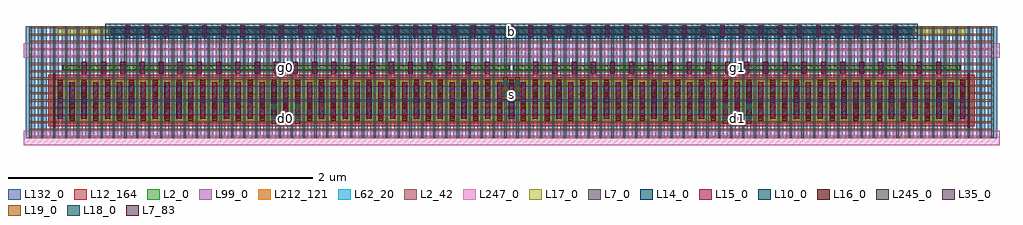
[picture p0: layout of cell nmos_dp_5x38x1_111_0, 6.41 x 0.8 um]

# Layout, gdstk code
import gdstk
lib = gdstk.Library(unit=1e-6, precision=1e-12)
def R(c, l, rs):  # rectangles x0, y0, x1, y1
    for r in rs: c.add(gdstk.rectangle(r[:2], r[2:], *l))
def A(c, l, x, y, w, h, nx, ny, dx, dy):  # array of equal rectangles
    R(c, l, [(x+i*dx, y+j*dy, x+i*dx+w, y+j*dy+h) for i in range(nx) for j in range(ny)])
L2_0 = (2, 0)
L2_42 = (2, 42)
L7_0 = (7, 0)
L7_83 = (7, 83)
L10_0 = (10, 0)
L12_164 = (12, 164)
L14_0 = (14, 0)
L15_0 = (15, 0)
L16_0 = (16, 0)
L17_0 = (17, 0)
L18_0 = (18, 0)
L19_0 = (19, 0)
L35_0 = (35, 0)
L62_20 = (62, 20)
L99_0 = (99, 0)
L132_0 = (132, 0)
L212_121 = (212, 121)
L245_0 = (245, 0)
L247_0 = (247, 0)

nmos_dp_5x38x1_111_0 = lib.new_cell('nmos_dp_5x38x1_111_0')
R(nmos_dp_5x38x1_111_0, L2_0, [(0.186,0.127,6.192,0.367), (0.5414,0.671,5.8366,0.731)])
A(nmos_dp_5x38x1_111_0, L2_42, 0.023, 0, 6.318, 0.014, 1, 16, 0, 0.048)
A(nmos_dp_5x38x1_111_0, L7_0, 0.023, 0, 0.014, 0.734, 82, 1, 0.078, 0)
R(nmos_dp_5x38x1_111_0, L7_83, [(0.179,0.067,0.193,0.427), (6.185,0.067,6.199,0.427)])
R(nmos_dp_5x38x1_111_0, L10_0, [(0.5214,0.651,5.8566,0.751)])
R(nmos_dp_5x38x1_111_0, L12_164, [(0.147,0.079,6.231,0.415)])
A(nmos_dp_5x38x1_111_0, L14_0, 0.208, 0.127, 0.034, 0.24, 77, 1, 0.078, 0)
R(nmos_dp_5x38x1_111_0, L14_0, [(0.5564,0.681,5.8216,0.721)])
A(nmos_dp_5x38x1_111_0, L15_0, 0.209, 0.127, 0.032, 0.24, 77, 1, 0.078, 0)
A(nmos_dp_5x38x1_111_0, L15_0, 0.368, 0.422, 0.032, 0.08, 22, 1, 0.126, 0)
A(nmos_dp_5x38x1_111_0, L15_0, 3.332, 0.422, 0.032, 0.08, 22, 1, 0.126, 0)
A(nmos_dp_5x38x1_111_0, L15_0, 0.653, 0.661, 0.032, 0.08, 41, 1, 0.126, 0)
A(nmos_dp_5x38x1_111_0, L16_0, 0.287, 0.114, 0.032, 0.032, 38, 2, 0.156, 0.078)
A(nmos_dp_5x38x1_111_0, L16_0, 0.209, 0.27, 0.032, 0.032, 39, 2, 0.156, 0.078)
A(nmos_dp_5x38x1_111_0, L16_0, 0.368, 0.446, 0.032, 0.032, 22, 1, 0.126, 0)
A(nmos_dp_5x38x1_111_0, L16_0, 3.332, 0.446, 0.032, 0.032, 22, 1, 0.126, 0)
A(nmos_dp_5x38x1_111_0, L16_0, 0.653, 0.685, 0.032, 0.032, 41, 1, 0.126, 0)
R(nmos_dp_5x38x1_111_0, L17_0, [(0.267,0.114,3.147,0.146), (3.231,0.114,6.111,0.146), (0.267,0.192,3.147,0.224), (3.231,0.192,6.111,0.224), (0.186,0.27,6.192,0.302), (0.186,0.348,6.192,0.38), (0.261,0.446,3.153,0.478), (3.225,0.446,6.117,0.478), (0.209,0.685,6.169,0.717)])
R(nmos_dp_5x38x1_111_0, L18_0, [(1.613,0.114,1.645,0.146), (1.769,0.114,1.801,0.146), (4.577,0.114,4.609,0.146), (4.733,0.114,4.765,0.146), (1.613,0.192,1.645,0.224), (1.769,0.192,1.801,0.224), (4.577,0.192,4.609,0.224), (4.733,0.192,4.765,0.224), (3.134,0.27,3.166,0.302), (3.212,0.27,3.244,0.302), (3.134,0.348,3.166,0.38), (3.212,0.348,3.244,0.38), (1.691,0.446,1.723,0.478), (4.655,0.446,4.687,0.478)])
R(nmos_dp_5x38x1_111_0, L19_0, [(1.613,0.094,1.645,0.244), (1.769,0.094,1.801,0.244), (4.577,0.094,4.609,0.244), (4.733,0.094,4.765,0.244), (3.134,0.25,3.166,0.4), (3.212,0.25,3.244,0.4), (1.691,0.426,1.723,0.499), (4.655,0.426,4.687,0.499)])
A(nmos_dp_5x38x1_111_0, L35_0, 0.209, 0.231, 0.032, 0.032, 77, 1, 0.078, 0)
A(nmos_dp_5x38x1_111_0, L35_0, 0.368, 0.446, 0.032, 0.032, 22, 1, 0.126, 0)
A(nmos_dp_5x38x1_111_0, L35_0, 3.332, 0.446, 0.032, 0.032, 22, 1, 0.126, 0)
A(nmos_dp_5x38x1_111_0, L35_0, 0.653, 0.685, 0.032, 0.032, 41, 1, 0.126, 0)
R(nmos_dp_5x38x1_111_0, L62_20, [(0.186,0.127,6.192,0.367)])
R(nmos_dp_5x38x1_111_0, L99_0, [(0.186,0.127,6.192,0.367), (0.5514,0.676,5.8266,0.726)])
A(nmos_dp_5x38x1_111_0, L132_0, 0, 0, 0.06, 0.734, 82, 1, 0.078, 0)
R(nmos_dp_5x38x1_111_0, L212_121, [(0.186,0.127,6.192,0.367)])
R(nmos_dp_5x38x1_111_0, L245_0, [(0.241,0.447,3.173,0.477), (3.205,0.447,6.137,0.477)])
R(nmos_dp_5x38x1_111_0, L247_0, [(-0.016,-0.047,6.394,0.047), (-0.016,0.529,6.394,0.623)])
nmos_dp_5x38x1_111_0.add(gdstk.Label('s', (3.189,0.286), layer=16, texttype=20))
nmos_dp_5x38x1_111_0.add(gdstk.Label('d1', (4.671,0.13), layer=16, texttype=20))
nmos_dp_5x38x1_111_0.add(gdstk.Label('d0', (1.707,0.13), layer=16, texttype=20))
nmos_dp_5x38x1_111_0.add(gdstk.Label('g0', (1.707,0.4625), layer=16, texttype=20))
nmos_dp_5x38x1_111_0.add(gdstk.Label('g1', (4.671,0.4625), layer=16, texttype=20))
nmos_dp_5x38x1_111_0.add(gdstk.Label('b', (3.189,0.701), layer=16, texttype=20))

lib.write_gds('nmos_dp_5x38x1_111_0.gds')
